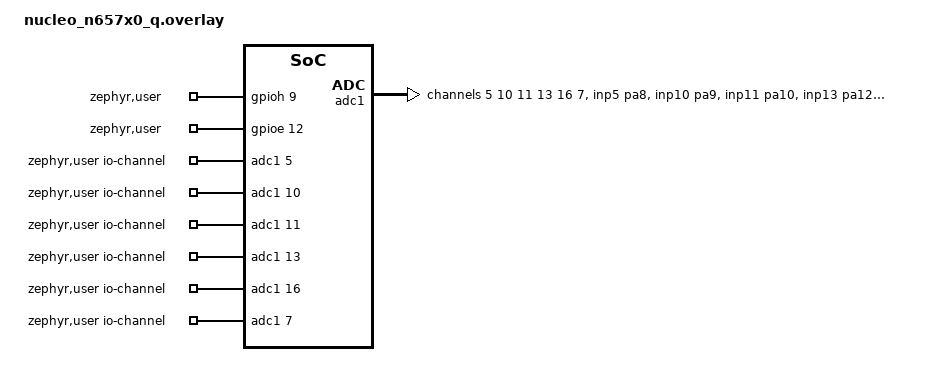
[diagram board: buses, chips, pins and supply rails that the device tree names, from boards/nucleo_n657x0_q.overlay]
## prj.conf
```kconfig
# SCPI-Controlled DAQ System for STM32N657 (NUCLEO-N657X0-Q)
# Zephyr RTOS Configuration
# Zephyr 4.4.x

# ============================================================================
# CONSOLE / SERIAL / UART
# ============================================================================
CONFIG_SERIAL=y
CONFIG_UART_INTERRUPT_DRIVEN=y

CONFIG_CONSOLE=y
CONFIG_UART_CONSOLE=y

# ============================================================================
# ADC
# ============================================================================
CONFIG_ADC=y

# ============================================================================
# FLOATING POINT / LIBC
# ============================================================================
CONFIG_FPU=y
CONFIG_CBPRINTF_FP_SUPPORT=y

# Use Newlib explicitly
CONFIG_NEWLIB_LIBC=y
# CONFIG_PICOLIBC is not set

# ============================================================================
# KERNEL / THREADING
# ============================================================================
CONFIG_MULTITHREADING=y
CONFIG_THREAD_STACK_INFO=y
CONFIG_THREAD_NAME=y

CONFIG_MAIN_STACK_SIZE=2048
CONFIG_HEAP_MEM_POOL_SIZE=2048

CONFIG_MPU_STACK_GUARD=y
CONFIG_THREAD_ANALYZER=y
CONFIG_THREAD_NAME=y

# ============================================================================
# GPIO
# ============================================================================
CONFIG_GPIO=y

# ============================================================================
# I2C
# ============================================================================
CONFIG_I2C=y

# ============================================================================
# LOGGING
# ============================================================================
CONFIG_LOG=y
CONFIG_LOG_DEFAULT_LEVEL=2

# Do NOT use CONFIG_UART_LOG.
# UART console/logging is handled by CONFIG_UART_CONSOLE.

# ============================================================================
# TIMING
# ============================================================================
# Zephyr kernel timers and the system workqueue are kernel facilities.
# CONFIG_TIMER and CONFIG_SYSTEM_WORKQUEUE are obsolete/undefined symbols
# in this Zephyr configuration, so they are intentionally omitted.

# ============================================================================
# BUILD / MEMORY
# ============================================================================
CONFIG_BUILD_NO_GAP_FILL=y
CONFIG_MPU_STACK_GUARD=y
```

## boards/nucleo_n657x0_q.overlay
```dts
/*
 * NUCLEO-N657X0-Q
 * DAQ application devicetree overlay
 *
 * Hardware:
 *   ADC1:
 *     CH0 -> PA8  -> ADC1 INP5
 *     CH1 -> PA9  -> ADC1 INP10
 *     CH2 -> PA10 -> ADC1 INP11
 *     CH3 -> PA12 -> ADC1 INP13
 *     CH4 -> PF3  -> ADC1 INP16
 *     CH5 -> PG15 -> ADC1 INP7
 *
 *   Bit-banged I2C:
 *     SCL -> PH9
 *     SDA -> PE12
 */

#include <zephyr/dt-bindings/gpio/gpio.h>
#include <zephyr/dt-bindings/adc/adc.h>

/ {
	/*
	 * User-defined DAQ interface.
	 *
	 * gpios[0] = SCL
	 * gpios[1] = SDA
	 *
	 * io-channels[0..5] = six ADC channels
	 */
	zephyr,user {
		gpios = <&gpioh 9  (GPIO_OPEN_DRAIN | GPIO_PULL_UP)>,
			<&gpioe 12 (GPIO_OPEN_DRAIN | GPIO_PULL_UP)>;

		io-channels = <&adc1 5>,
			      <&adc1 10>,
			      <&adc1 11>,
			      <&adc1 13>,
			      <&adc1 16>,
			      <&adc1 7>;
	};
};


/*
 * ============================================================
 * ADC1
 * ============================================================
 */

&adc1 {
	/*
	 * STM32N657 ADC clock configuration.
	 */
	clocks = <&rcc STM32_CLOCK(AHB1, 5)>,
		 <&rcc STM32_SRC_CKPER ADC12_SEL(1)>;

	clock-names = "adcx", "adc_ker";

	/*
	 * Physical ADC pins.
	 */
	pinctrl-0 = <&adc1_inp5_pa8
		     &adc1_inp10_pa9
		     &adc1_inp11_pa10
		     &adc1_inp13_pa12
		     &adc1_inp16_pf3
		     &adc1_inp7_pg15>;

	pinctrl-names = "default";

	/*
	 * ADC reference voltage.
	 */
	vref-mv = <1800>;

	#address-cells = <1>;
	#size-cells = <0>;

	status = "okay";


	/*
	 * ADC Channel 0
	 * PA8 -> ADC1 INP5
	 */
	channel@5 {
		reg = <5>;

		zephyr,gain = "ADC_GAIN_1";
		zephyr,reference = "ADC_REF_INTERNAL";
		zephyr,acquisition-time = <ADC_ACQ_TIME_DEFAULT>;
		zephyr,resolution = <12>;
	};


	/*
	 * ADC Channel 1
	 * PA9 -> ADC1 INP10
	 */
	channel@a {
		reg = <10>;

		zephyr,gain = "ADC_GAIN_1";
		zephyr,reference = "ADC_REF_INTERNAL";
		zephyr,acquisition-time = <ADC_ACQ_TIME_DEFAULT>;
		zephyr,resolution = <12>;
	};


	/*
	 * ADC Channel 2
	 * PA10 -> ADC1 INP11
	 */
	channel@b {
		reg = <11>;

		zephyr,gain = "ADC_GAIN_1";
		zephyr,reference = "ADC_REF_INTERNAL";
		zephyr,acquisition-time = <ADC_ACQ_TIME_DEFAULT>;
		zephyr,resolution = <12>;
	};


	/*
	 * ADC Channel 3
	 * PA12 -> ADC1 INP13
	 */
	channel@d {
		reg = <13>;

		zephyr,gain = "ADC_GAIN_1";
		zephyr,reference = "ADC_REF_INTERNAL";
		zephyr,acquisition-time = <ADC_ACQ_TIME_DEFAULT>;
		zephyr,resolution = <12>;
	};


	/*
	 * ADC Channel 4
	 * PF3 -> ADC1 INP16
	 */
	channel@10 {
		reg = <16>;

		zephyr,gain = "ADC_GAIN_1";
		zephyr,reference = "ADC_REF_INTERNAL";
		zephyr,acquisition-time = <ADC_ACQ_TIME_DEFAULT>;
		zephyr,resolution = <12>;
	};


	/*
	 * ADC Channel 5
	 * PG15 -> ADC1 INP7
	 */
	channel@7 {
		reg = <7>;

		zephyr,gain = "ADC_GAIN_1";
		zephyr,reference = "ADC_REF_INTERNAL";
		zephyr,acquisition-time = <ADC_ACQ_TIME_DEFAULT>;
		zephyr,resolution = <12>;
	};
};


/*
 * ============================================================
 * GPIO PORTS
 * ============================================================
 *
 * Explicitly enable the GPIO controllers used by the DAQ.
 */

&gpioa {
	status = "okay";
};

&gpioe {
	status = "okay";
};

&gpiof {
	status = "okay";
};

&gpioh {
	status = "okay";
};

&gpiog {
	status = "okay";
};
```

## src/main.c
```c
#include <zephyr/kernel.h>
#include <zephyr/device.h>
#include <stdio.h>
#include <string.h>
#include <stdint.h>

/* Include application headers */
#include "drivers_uart.h"
#include "drivers_adc.h"
#include "drivers_dac.h"
#include "scpi_parser.h"
#include "scpi_commands.h"
#include "scpi_error.h"
#include "control_pid.h"
#include "application_daq.h"

/* ====================================================================
   Global Application State
   ==================================================================== */

static daq_state_t g_daq;
static scpi_error_t g_last_error;

/* Per-port command line buffer/state. Each UART port (console, USART3)
   assembles its own command line independently, so a half-typed line
   on one link can never bleed into the other. */
#define COMMAND_BUFFER_SIZE 256

typedef struct {
    char buffer[COMMAND_BUFFER_SIZE];
    int  pos;
} cmd_line_state_t;

static cmd_line_state_t g_cmd_state[UART_PORT_COUNT];

/* Timing and synchronization */
#define PID_UPDATE_PERIOD_MS 10
#define UART_POLL_INTERVAL_MS 1

/* Thread stacks */
#define UART_THREAD_STACK_SIZE 4096
#define PID_THREAD_STACK_SIZE 2048

/* Semaphores and timers */
static struct k_timer pid_timer;
static struct k_sem pid_update_sem;

/* ====================================================================
   Forward Declarations
   ==================================================================== */

static void uart_poll_thread(void *arg1, void *arg2, void *arg3);
static void pid_update_thread(void *arg1, void *arg2, void *arg3);
static void pid_timer_expiry(struct k_timer *timer);
static void service_uart_port(uart_port_t port);
static void process_command_line(uart_port_t port, const char *line);
static void system_init(void);

/* ====================================================================
   Thread Definitions
   ==================================================================== */

/* Make UART thread higher priority so it drains incoming bytes immediately */
K_THREAD_DEFINE(uart_thread, UART_THREAD_STACK_SIZE,
                uart_poll_thread, NULL, NULL, NULL,
                1, 0, 0);  /* Priority 1 (Higher Priority) */

K_THREAD_DEFINE(pid_thread, PID_THREAD_STACK_SIZE,
                pid_update_thread, NULL, NULL, NULL,
                3, 0, 0);  /* Priority 3 */

/* ====================================================================
   PID Timer Expiry Handler
   
   Called every PID_UPDATE_PERIOD_MS to trigger PID update
   ==================================================================== */

static void pid_timer_expiry(struct k_timer *timer)
{
    /* Signal PID thread to wake up */
    k_sem_give(&pid_update_sem);
}

/* ====================================================================
   UART Poll Thread

   Services BOTH UART ports (console + USART3) every tick. Each port
   is fully independent: its own RX ring buffer (filled by its own
   ISR), its own in-progress command-line buffer, and any response is
   written back out that same port.
   ==================================================================== */

static void service_uart_port(uart_port_t port)
{
    uint8_t uart_char;
    cmd_line_state_t *st = &g_cmd_state[port];

    /* Drain everything currently queued for this port */
    while (UART_GetChar(port, &uart_char)) {
        if (uart_char == '\r' || uart_char == '\n') {
            /* Command complete - process it.
               NOTE: deliberately no newline sent here. The characters
               already echoed above form "COMMAND", and
               process_command_line() appends "->(response)\n" right
               after it with no line break in between, so the whole
               transaction is exactly one line:
                   COMMAND->(response)\n
               Sending a newline here would split it into two lines
               and desync any host parser expecting one line per
               command (this was the actual bug: it caused every
               later line to shift by one). */
            if (st->pos > 0) {
                st->buffer[st->pos] = '\0';
                process_command_line(port, st->buffer);
                st->pos = 0;
            }
        } else if (uart_char == '\b' || uart_char == 127) {
            /* Backspace */
            if (st->pos > 0) {
                st->pos--;
                UART_Send(port, "\b \b");
            }
        } else if (uart_char >= 32 && uart_char < 127) {
            /* Printable character - add to buffer and echo back on
               the SAME port it arrived on (printk()/putchar() would
               only ever reach the console, never USART3) */
            if (st->pos < COMMAND_BUFFER_SIZE - 1) {
                st->buffer[st->pos++] = uart_char;
                UART_SendChar(port, uart_char);
            }
        }
    }
}

static void uart_poll_thread(void *arg1, void *arg2, void *arg3)
{
    (void)arg1;
    (void)arg2;
    (void)arg3;
    
    printk("[UART] Thread started\n");
    
    while (1) {
        service_uart_port(UART_PORT_CONSOLE);
        service_uart_port(UART_PORT_USART3);

        /* Yield to prevent starving other threads */
        k_sleep(K_MSEC(UART_POLL_INTERVAL_MS));
    }
}

/* ====================================================================
   PID Update Thread
   
   Updates PID controller at fixed 10ms interval
   ==================================================================== */

static void pid_update_thread(void *arg1, void *arg2, void *arg3)
{
    (void)arg1;
    (void)arg2;
    (void)arg3;
    
    printk("[PID] Thread started\n");
    
    while (1) {
        /* Wait for PID timer to expire */
        k_sem_take(&pid_update_sem, K_FOREVER);
        
        /* Update PID with fixed time step */
        float dt = (float)PID_UPDATE_PERIOD_MS / 1000.0f;
        DAQ_UpdatePID(&g_daq, dt);
    }
}

/* ====================================================================
   Command Processing with Formatted Delimiter: Command->(Response)

   `port` identifies which physical UART the command came in on, so
   the response is written back out that same link.
   ==================================================================== */

static void process_command_line(uart_port_t port, const char *line)
{
    char response_buffer[256];
    char formatted_out[512];
    scpi_command_t cmd;
    
    if (!line || line[0] == '\0') {
        return;  /* Empty line, ignore */
    }
    
    /* Parse the command */
    int parse_ret = SCPI_Parse(line, &cmd);
    if (parse_ret < 0) {
        SCPI_Error_Add(-113, "Undefined header");
        snprintf(formatted_out, sizeof(formatted_out), "->(-113,\"Undefined header\")\n");
        UART_Send(port, formatted_out);
        return;
    }
    
    /* Execute the command */
    memset(response_buffer, 0, sizeof(response_buffer));
    int cmd_ret = SCPI_ExecuteCommand(&cmd, &g_daq, response_buffer, sizeof(response_buffer));
    
    if (cmd_ret == 0) {
        /* Successful execution */
        snprintf(formatted_out, sizeof(formatted_out), "->(%s)\n", response_buffer);
        UART_Send(port, formatted_out);
    } else {
        /* Error occurred */
        if (SCPI_Error_Get(&g_last_error)) {
            char err_buf[128];
            SCPI_Error_Format(&g_last_error, err_buf, sizeof(err_buf));
            snprintf(formatted_out, sizeof(formatted_out), "->(%s)\n", err_buf);
            UART_Send(port, formatted_out);
        } else {
            snprintf(formatted_out, sizeof(formatted_out), "->(ERROR)\n");
            UART_Send(port, formatted_out);
        }
    }
}

/* ====================================================================
   System Initialization
   ==================================================================== */

static void system_init(void)
{

    UART_Init();

    ADC_Init();

    DAC_Init();

    SCPI_Error_Init();

    DAQ_Init(&g_daq);

k_sem_init(&pid_update_sem, 0, 1);

k_timer_init(&pid_timer, pid_timer_expiry, NULL);

k_timer_start(&pid_timer,
              K_MSEC(PID_UPDATE_PERIOD_MS),
              K_MSEC(PID_UPDATE_PERIOD_MS));
    printk("\n");
    printk("========================================\n");
    printk("System initialized successfully\n");
    printk("========================================\n\n");
    
}

/* ====================================================================
   Main Entry Point
   ==================================================================== */

int main(void)
{
    /* Initialize system */
    system_init();
    
    /* Main thread is now ready to process user input */

    
    /* Main thread can be used for other tasks if needed */
    /* For now, just keep it alive */
    while (1) {
        k_sleep(K_SECONDS(1));
    }
    
    return 0;
}
```

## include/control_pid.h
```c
#ifndef CONTROL_PID_H
#define CONTROL_PID_H

#include <stdint.h>
#include <stdbool.h>

typedef struct {
    float kp;
    float ki;
    float kd;
    float setpoint;
    bool  use_setpoint;     /* true = Closed-Loop Setpoint Mode, false = Follower Mode */
    
    float integral;
    float prev_error;
    float output;
    
    float output_min;
    float output_max;
    
    bool enabled;
    float measurement;
    float error;
} pid_controller_t;

void PID_Init(pid_controller_t *pid);
void PID_SetKp(pid_controller_t *pid, float kp);
void PID_SetKi(pid_controller_t *pid, float ki);
void PID_SetKd(pid_controller_t *pid, float kd);
void PID_SetSetpoint(pid_controller_t *pid, float setpoint);
void PID_EnableSetpointMode(pid_controller_t *pid, bool enable);
bool PID_IsSetpointMode(const pid_controller_t *pid);

void PID_Enable(pid_controller_t *pid);
void PID_Disable(pid_controller_t *pid);
bool PID_IsEnabled(const pid_controller_t *pid);

void PID_SetOutputLimits(pid_controller_t *pid, float min_output, float max_output);
void PID_Update(pid_controller_t *pid, float measurement, float dt);

float PID_GetOutput(const pid_controller_t *pid);
float PID_GetError(const pid_controller_t *pid);
float PID_GetMeasurement(const pid_controller_t *pid);
void PID_ResetIntegral(pid_controller_t *pid);

#endif // CONTROL_PID_H
```

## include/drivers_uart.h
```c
#ifndef UART_H
#define UART_H

#include <stdint.h>
#include <stdbool.h>

/**
 * UART Driver Module
 *
 * Provides simple UART I/O functions, now multiplexed across two
 * independent physical ports:
 *
 *   UART_PORT_CONSOLE - ST-Link VCOM (the original "serial monitor" link)
 *   UART_PORT_USART3  - second external UART link (USART3)
 *
 * Both ports run the *same* SCPI command interface. Each port has its
 * own RX ring buffer and its own in-progress command-line buffer, so a
 * partially-typed line on one port never interferes with the other.
 * A response to a command is always sent back out the same port the
 * command arrived on.
 */

typedef enum {
    UART_PORT_CONSOLE = 0,
    UART_PORT_USART3  = 1,
    UART_PORT_COUNT
} uart_port_t;

/**
 * Initialize both UART ports (devices, ring buffers, RX interrupts).
 */
void UART_Init(void);

/**
 * Send a single character via the given UART port (blocking poll-out).
 *
 * @param port Which physical UART to send on
 * @param c    Character to send
 */
void UART_SendChar(uart_port_t port, char c);

/**
 * Send a null-terminated string via the given UART port.
 *
 * @param port Which physical UART to send on
 * @param str  Pointer to string
 */
void UART_Send(uart_port_t port, const char *str);

/**
 * Send formatted output (like printf) via the given UART port.
 *
 * @param port   Which physical UART to send on
 * @param format Printf-style format string
 * @param ...    Arguments
 */
void UART_Printf(uart_port_t port, const char *format, ...);

/**
 * Attempt to read one character from the given UART port (non-blocking).
 *
 * Pulls from that port's RX ring buffer, which is filled by its own
 * RX interrupt handler.
 *
 * @param port Which physical UART to read from
 * @param c    Pointer to store received character
 * @return true if a character was received, false if none available
 */
bool UART_GetChar(uart_port_t port, uint8_t *c);

/**
 * Get the underlying Zephyr device pointer for a port (for direct
 * Zephyr API access if needed).
 */
const struct device *UART_GetDevice(uart_port_t port);

#endif // UART_H
```

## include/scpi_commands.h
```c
#ifndef SCPI_COMMANDS_H
#define SCPI_COMMANDS_H

#include "scpi_parser.h"
#include "application_daq.h"

/**
 * SCPI Command Handler Module
 *
 * Routes parsed SCPI commands to appropriate handlers.
 * Each command:
 *  1. Validates parameters
 *  2. Calls appropriate DAQ/driver functions
 *  3. Formats response
 *  4. Sends response via UART
 *
 * Error handling:
 *  - Invalid parameters → Add error to error queue
 *  - Range errors → Add error to error queue
 *  - Successful execution → Send response
 */

/**
 * Process a parsed SCPI command
 *
 * This is the main dispatch function.
 * Given a parsed command structure and DAQ state, executes the command
 * and generates a response string.
 *
 * The response string is stored in response buffer for transmission.
 *
 * @param cmd Parsed SCPI command
 * @param daq DAQ application state
 * @param response Output buffer for response string
 * @param response_size Size of response buffer
 * @return 0 on successful execution, -1 on error (error added to queue)
 */
int SCPI_ExecuteCommand(const scpi_command_t *cmd, daq_state_t *daq,
                        char *response, int response_size);

/**
 * Convenience function to generate standard OK response
 */
void SCPI_ResponseOK(char *buf, int size);

/**
 * Convenience function to generate numeric response
 */
void SCPI_ResponseFloat(char *buf, int size, float value, int decimals);

/**
 * Convenience function to generate string response
 */
void SCPI_ResponseString(char *buf, int size, const char *str);

#endif // SCPI_COMMANDS_H
```

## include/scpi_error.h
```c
#ifndef SCPI_ERROR_H
#define SCPI_ERROR_H

#include <stdint.h>
#include <stdbool.h>

/**
 * SCPI Error Queue Module
 *
 * Maintains a queue of SCPI errors as required by the standard.
 * Each error has a numeric code and a message string.
 *
 * Error behavior:
 *  - SCPI:ERR? returns oldest error and removes it
 *  - Subsequent SCPI:ERR? returns next error
 *  - When queue is empty, returns 0,"No error"
 *  - Maximum of ~16 errors can be buffered
 *  - *CLS clears all errors
 *  - *RST clears all errors
 */

typedef struct {
    int code;
    char message[64];
} scpi_error_t;

/**
 * Initialize error queue
 */
void SCPI_Error_Init(void);

/**
 * Add an error to the queue
 *
 * @param code SCPI error code (e.g., -222 for out of range)
 * @param message Error description (will be truncated to 63 chars)
 */
void SCPI_Error_Add(int code, const char *message);

/**
 * Get oldest error and remove it from queue
 *
 * @param error Pointer to error structure to fill
 * @return true if an error was returned, false if queue is empty
 */
bool SCPI_Error_Get(scpi_error_t *error);

/**
 * Query if there are any errors in the queue
 *
 * @return true if queue is not empty, false otherwise
 */
bool SCPI_Error_HasError(void);

/**
 * Clear all errors from the queue
 * Called by *CLS or *RST
 */
void SCPI_Error_Clear(void);

/**
 * Convenience function: Format error response string
 *
 * Formats "code,\"message\"" suitable for UART transmission
 *
 * @param error Pointer to error structure
 * @param buf Output buffer
 * @param buf_size Size of output buffer
 */
void SCPI_Error_Format(const scpi_error_t *error, char *buf, int buf_size);

#endif // SCPI_ERROR_H
```

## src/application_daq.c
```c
#include <stdint.h>
#include <stdbool.h>
#include <string.h>

#include "application_daq.h"
#include "drivers_adc.h"
#include "drivers_dac.h"
#include "control_pid.h"
#include "calibration_config.h"

void DAQ_Init(daq_state_t *daq)
{
    if (!daq) return;
    
    strcpy(daq->manufacturer, "VIMICRO");
    strcpy(daq->model, "VDAS");
    strcpy(daq->serial, "01E");
    strcpy(daq->version, "0.1");
    
    /* CH0 & CH1 default to CURRENT; CH2..CH5 default to VOLTAGE */
    for (int i = 0; i < DAQ_NUM_ADC_CHANNELS; i++) {
        daq->channels[i].mode = (i < 2) ? CHANNEL_MODE_CURRENT : CHANNEL_MODE_VOLTAGE;
        daq->channels[i].last_measurement = 0.0f;
    }
    
    daq->sample_rate = 100;
    daq->sample_count = 1;
    
    for (int ch = 0; ch < DAQ_NUM_DAC_CHANNELS; ch++) {
        daq->output_enabled[ch] = false;
        daq->dac_output[ch] = 0.0f;
    }
    daq->active_dac_channel = DAC_CHANNEL_A;
    
    /* Loop 0 Defaults */
    daq->pid_input_channel[0] = PID0_DEFAULT_INPUT_CHANNEL;
    daq->pid_output_channel[0] = PID0_DEFAULT_OUTPUT_CHANNEL;
    PID_Init(&daq->pid[0]);
    PID_SetOutputLimits(&daq->pid[0], 4.0f, 20.0f);
    
    /* Loop 1 Defaults */
    daq->pid_input_channel[1] = PID1_DEFAULT_INPUT_CHANNEL;
    daq->pid_output_channel[1] = PID1_DEFAULT_OUTPUT_CHANNEL;
    PID_Init(&daq->pid[1]);
    PID_SetOutputLimits(&daq->pid[1], 4.0f, 20.0f);
}

int DAQ_ConfigChannel_Voltage(daq_state_t *daq, uint8_t channel)
{
    if (!daq || channel >= DAQ_NUM_ADC_CHANNELS) return -1;
    daq->channels[channel].mode = CHANNEL_MODE_VOLTAGE;
    return 0;
}

int DAQ_ConfigChannel_Current(daq_state_t *daq, uint8_t channel)
{
    if (!daq || channel >= DAQ_NUM_ADC_CHANNELS) return -1;
    daq->channels[channel].mode = CHANNEL_MODE_CURRENT;
    return 0;
}

channel_mode_t DAQ_GetChannelMode(const daq_state_t *daq, uint8_t channel)
{
    if (!daq || channel >= DAQ_NUM_ADC_CHANNELS) return CHANNEL_MODE_VOLTAGE;
    return daq->channels[channel].mode;
}

float DAQ_ReadChannel(daq_state_t *daq, uint8_t channel)
{
    if (!daq || channel >= DAQ_NUM_ADC_CHANNELS) return 0.0f;
    
    float measurement = 0.0f;
    if (daq->channels[channel].mode == CHANNEL_MODE_VOLTAGE) {
        measurement = ADC_ReadVoltage(channel);
    } else {
        measurement = ADC_ReadCurrent(channel);
    }
    daq->channels[channel].last_measurement = measurement;
    return measurement;
}

void DAQ_SetSampleRate(daq_state_t *daq, uint32_t rate) { if (daq) daq->sample_rate = rate; }
uint32_t DAQ_GetSampleRate(const daq_state_t *daq) { return daq ? daq->sample_rate : 100; }
void DAQ_SetSampleCount(daq_state_t *daq, uint32_t count) { if (daq) daq->sample_count = count; }
uint32_t DAQ_GetSampleCount(const daq_state_t *daq) { return daq ? daq->sample_count : 1; }

bool DAQ_IsAnyPIDDrivingDAC(const daq_state_t *daq, uint8_t dac_channel)
{
    if (!daq) return false;
    for (int p = 0; p < DAQ_NUM_PID_LOOPS; p++) {
        if (PID_IsEnabled(&daq->pid[p]) && daq->pid_output_channel[p] == dac_channel) {
            return true;
        }
    }
    return false;
}

void DAQ_EnableOutput(daq_state_t *daq, uint8_t channel)
{
    if (!daq || channel >= DAQ_NUM_DAC_CHANNELS) return;
    
    for (int p = 0; p < DAQ_NUM_PID_LOOPS; p++) {
        if (daq->pid_output_channel[p] == channel && PID_IsEnabled(&daq->pid[p])) {
            PID_Disable(&daq->pid[p]);
        }
    }
    
    daq->output_enabled[channel] = true;
}

void DAQ_DisableOutput(daq_state_t *daq, uint8_t channel)
{
    if (!daq || channel >= DAQ_NUM_DAC_CHANNELS) return;
    daq->output_enabled[channel] = false;
    DAC_SetVoltage(channel, 0.0f);
}

bool DAQ_IsOutputEnabled(const daq_state_t *daq, uint8_t channel)
{
    if (!daq || channel >= DAQ_NUM_DAC_CHANNELS) return false;
    return daq->output_enabled[channel];
}

int DAQ_EnablePID(daq_state_t *daq, uint8_t pid_index)
{
    if (!daq || pid_index >= DAQ_NUM_PID_LOOPS) return -1;
    
    uint8_t in_ch = daq->pid_input_channel[pid_index];
    uint8_t out_ch = daq->pid_output_channel[pid_index];
    daq->output_enabled[out_ch] = false;
    
    /* Dynamically configure limits based on input mode */
    if (daq->channels[in_ch].mode == CHANNEL_MODE_CURRENT) {
        PID_SetOutputLimits(&daq->pid[pid_index], 4.0f, 20.0f);
    } else {
        PID_SetOutputLimits(&daq->pid[pid_index], 0.0f, 5.0f);
    }
    
    PID_Enable(&daq->pid[pid_index]);
    return 0;
}

int DAQ_DisablePID(daq_state_t *daq, uint8_t pid_index)
{
    if (!daq || pid_index >= DAQ_NUM_PID_LOOPS) return -1;
    PID_Disable(&daq->pid[pid_index]);
    DAC_SetVoltage(daq->pid_output_channel[pid_index], 0.0f);
    return 0;
}

bool DAQ_IsPIDEnabled(const daq_state_t *daq, uint8_t pid_index)
{
    if (!daq || pid_index >= DAQ_NUM_PID_LOOPS) return false;
    return PID_IsEnabled(&daq->pid[pid_index]);
}

int DAQ_SetActiveOutputChannel(daq_state_t *daq, uint8_t channel)
{
    if (!daq || channel >= DAQ_NUM_DAC_CHANNELS) return -1;
    daq->active_dac_channel = channel;
    return 0;
}

uint8_t DAQ_GetActiveOutputChannel(const daq_state_t *daq)
{
    return daq ? daq->active_dac_channel : 0;
}

int DAQ_SetOutputVoltage(daq_state_t *daq, uint8_t channel, float voltage)
{
    if (!daq || channel >= DAQ_NUM_DAC_CHANNELS) return -1;
    if (DAQ_IsAnyPIDDrivingDAC(daq, channel) || !daq->output_enabled[channel]) {
        return -1;
    }
    
    int ret = DAC_SetVoltage(channel, voltage);
    if (ret == 0) daq->dac_output[channel] = voltage;
    return ret;
}

int DAQ_SetOutputCurrent(daq_state_t *daq, uint8_t channel, float current_mA)
{
    if (!daq || channel >= DAQ_NUM_DAC_CHANNELS) return -1;
    if (DAQ_IsAnyPIDDrivingDAC(daq, channel) || !daq->output_enabled[channel]) {
        return -1;
    }
    
    int ret = DAC_SetCurrent(channel, current_mA);
    if (ret == 0) daq->dac_output[channel] = DAC_GetVoltage(channel);
    return ret;
}

float DAQ_GetOutputVoltage(const daq_state_t *daq, uint8_t channel)
{
    if (!daq || channel >= DAQ_NUM_DAC_CHANNELS) return 0.0f;
    return DAC_GetVoltage(channel);
}

float DAQ_GetOutputCurrent(const daq_state_t *daq, uint8_t channel)
{
    if (!daq || channel >= DAQ_NUM_DAC_CHANNELS) return 0.0f;
    return DAC_GetCurrent(channel);
}

int DAQ_SetPIDInputChannel(daq_state_t *daq, uint8_t pid_index, uint8_t adc_channel)
{
    if (!daq || pid_index >= DAQ_NUM_PID_LOOPS || adc_channel >= DAQ_NUM_ADC_CHANNELS) return -1;
    daq->pid_input_channel[pid_index] = adc_channel;
    return 0;
}

uint8_t DAQ_GetPIDInputChannel(const daq_state_t *daq, uint8_t pid_index)
{
    if (!daq || pid_index >= DAQ_NUM_PID_LOOPS) return 0;
    return daq->pid_input_channel[pid_index];
}

int DAQ_SetPIDOutputChannel(daq_state_t *daq, uint8_t pid_index, uint8_t dac_channel)
{
    if (!daq || pid_index >= DAQ_NUM_PID_LOOPS || dac_channel >= DAQ_NUM_DAC_CHANNELS) return -1;
    daq->pid_output_channel[pid_index] = dac_channel;
    return 0;
}

uint8_t DAQ_GetPIDOutputChannel(const daq_state_t *daq, uint8_t pid_index)
{
    if (!daq || pid_index >= DAQ_NUM_PID_LOOPS) return 0;
    return daq->pid_output_channel[pid_index];
}

/* ============================================================================
 * Dynamic PID Execution Loop (Handles Both Voltage and Current Modes)
 * ============================================================================ */
void DAQ_UpdatePID(daq_state_t *daq, float dt)
{
    if (!daq) return;
    
    for (uint8_t p = 0; p < DAQ_NUM_PID_LOOPS; p++) {
        if (!PID_IsEnabled(&daq->pid[p])) {
            continue;
        }
        
        uint8_t in_ch = daq->pid_input_channel[p];
        uint8_t out_ch = daq->pid_output_channel[p];
        channel_mode_t mode = daq->channels[in_ch].mode;
        
        if (mode == CHANNEL_MODE_CURRENT) {
            /* 1. Read calibrated Current in mA */
            float in_curr_mA = ADC_ReadCurrent(in_ch);
            
            /* 2. Dynamically set limits (4.0 to 20.0 mA) */
            PID_SetOutputLimits(&daq->pid[p], 4.0f, 20.0f);
            
            /* 3. Update PID */
            PID_Update(&daq->pid[p], in_curr_mA, dt);
            
            /* 4. Drive DAC using DAC_SetCurrent */
            float target_mA = PID_GetOutput(&daq->pid[p]);
            DAC_SetCurrent(out_ch, target_mA);
            daq->dac_output[out_ch] = DAC_GetVoltage(out_ch);
            
        } else {
            /* 1. Read calibrated Voltage in Volts */
            float in_volt = ADC_ReadVoltage(in_ch);
            
            /* 2. Dynamically set limits (0.0 to 5.0 V) */
            PID_SetOutputLimits(&daq->pid[p], 0.0f, 5.0f);
            
            /* 3. Update PID */
            PID_Update(&daq->pid[p], in_volt, dt);
            
            /* 4. Drive DAC using DAC_SetVoltage */
            float target_volt = PID_GetOutput(&daq->pid[p]);
            DAC_SetVoltage(out_ch, target_volt);
            daq->dac_output[out_ch] = target_volt;
        }
    }
}
```

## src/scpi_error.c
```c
#include "scpi_error.h"
#include <string.h>
#include <stdio.h>
#include <stdbool.h>

#define ERROR_QUEUE_SIZE 16

typedef struct {
    scpi_error_t queue[ERROR_QUEUE_SIZE];
    int head;  /* Next position to write */
    int count; /* Number of errors in queue */
} error_queue_t;

static error_queue_t error_queue = {0};

void SCPI_Error_Init(void)
{
    error_queue.head = 0;
    error_queue.count = 0;
}

void SCPI_Error_Add(int code, const char *message)
{
    if (!message) return;
    
    /* If queue is full, we need to drop the oldest error */
    if (error_queue.count >= ERROR_QUEUE_SIZE) {
        error_queue.count--;
    }
    
    /* Add new error at head position */
    int index = error_queue.head;
    error_queue.queue[index].code = code;
    
    strncpy(error_queue.queue[index].message, message, 
            sizeof(error_queue.queue[index].message) - 1);
    error_queue.queue[index].message[sizeof(error_queue.queue[index].message) - 1] = '\0';
    
    /* Move head to next position (circular) */
    error_queue.head = (error_queue.head + 1) % ERROR_QUEUE_SIZE;
    error_queue.count++;
}

bool SCPI_Error_Get(scpi_error_t *error)
{
    if (!error) return false;
    if (error_queue.count == 0) {
        /* Queue is empty, return "no error" */
        error->code = 0;
        strcpy(error->message, "No error");
        return false;
    }
    
    /* Calculate index of oldest error */
    int oldest_index = (error_queue.head - error_queue.count + ERROR_QUEUE_SIZE) % ERROR_QUEUE_SIZE;
    
    /* Copy oldest error */
    *error = error_queue.queue[oldest_index];
    
    /* Remove oldest error from queue */
    error_queue.count--;
    
    return true;
}

bool SCPI_Error_HasError(void)
{
    return error_queue.count > 0;
}

void SCPI_Error_Clear(void)
{
    error_queue.head = 0;
    error_queue.count = 0;
}

void SCPI_Error_Format(const scpi_error_t *error, char *buf, int buf_size)
{
    if (!error || !buf || buf_size < 10) {
        return;
    }
    
    snprintf(buf, buf_size, "%d,\"%s\"", error->code, error->message);
}
```

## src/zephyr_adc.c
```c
#include <zephyr/kernel.h>
#include <zephyr/device.h>
#include <zephyr/drivers/adc.h>
#include <stdint.h>
#include <stdbool.h>
#include "drivers_adc.h"
#include "calibration_config.h"

#define ADC_PHYSICAL_CHANNELS 6

static const struct adc_dt_spec adc_ch[ADC_PHYSICAL_CHANNELS] = {
    ADC_DT_SPEC_GET_BY_IDX(DT_PATH(zephyr_user), 0),
    ADC_DT_SPEC_GET_BY_IDX(DT_PATH(zephyr_user), 1),
    ADC_DT_SPEC_GET_BY_IDX(DT_PATH(zephyr_user), 2),
    ADC_DT_SPEC_GET_BY_IDX(DT_PATH(zephyr_user), 3),
    ADC_DT_SPEC_GET_BY_IDX(DT_PATH(zephyr_user), 4),
    ADC_DT_SPEC_GET_BY_IDX(DT_PATH(zephyr_user), 5),
};

void ADC_Init(void)
{
    for (int i = 0; i < ADC_PHYSICAL_CHANNELS; i++) {
        if (!adc_is_ready_dt(&adc_ch[i])) {
            printk("ADC physical channel %d not ready\n", i);
            return;
        }
        int ret = adc_channel_setup_dt(&adc_ch[i]);
        if (ret < 0) {
            printk("ADC physical channel %d setup failed: %d\n", i, ret);
            return;
        }
    }
    printk("ADC initialized with dynamic calibration mapping\n");
}

uint16_t ADC_ReadRaw(uint8_t logical_channel)
{
    if (logical_channel >= DAQ_NUM_ADC_CHANNELS) {
        return 0;
    }

    uint8_t physical_channel = ADC_LOGICAL_TO_PHYSICAL_MAP[logical_channel];
    if (physical_channel >= ADC_PHYSICAL_CHANNELS) {
        return 0;
    }

    uint32_t buf = 0;
    struct adc_sequence seq = {
        .buffer = &buf,
        .buffer_size = sizeof(buf),
    };

    if (adc_sequence_init_dt(&adc_ch[physical_channel], &seq) < 0) {
        return 0;
    }

    if (adc_read_dt(&adc_ch[physical_channel], &seq) < 0) {
        return 0;
    }

    return (uint16_t)(buf & 0xFFFF);
}

float ADC_ReadVoltage(uint8_t logical_channel)
{
    if (logical_channel >= DAQ_NUM_ADC_CHANNELS) {
        return 0.0f;
    }

    uint16_t raw = ADC_ReadRaw(logical_channel);
    return CALIB_AdcCountToVoltage(logical_channel, raw);
}

float ADC_ReadCurrent(uint8_t logical_channel)
{
    if (logical_channel >= DAQ_NUM_ADC_CHANNELS) {
        return 0.0f;
    }

    float voltage = ADC_ReadVoltage(logical_channel);
    return CALIB_AdcVoltageToCurrent(logical_channel, voltage);
}

void ADC_SetMockValue(uint8_t channel, float voltage)
{
    (void)channel;
    (void)voltage;
}

const struct device *ADC_GetDevice(void)
{
    return adc_ch[0].dev;
}
```

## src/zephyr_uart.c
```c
/**
 * Zephyr UART Driver for SCPI DAQ
 *
 * Wraps Zephyr's UART device API to expose two independent physical
 * ports through the same interface the application already uses:
 *
 *   UART_PORT_CONSOLE -> ST-Link VCOM console (PB14 TX / PB15 RX, 115200 8N1)
 *   UART_PORT_USART3  -> second external UART link (USART3)
 *
 * Each port gets its own RX ring buffer, filled by its own interrupt
 * handler, so the two links are fully independent from the ISR level
 * up through UART_GetChar(). Nothing above this file needs to know
 * there are two physical UARTs beyond passing the right port enum.
 */

#include <zephyr/kernel.h>
#include <zephyr/device.h>
#include <zephyr/drivers/uart.h>
#include <zephyr/sys/ring_buffer.h>
#include <stdio.h>
#include <string.h>
#include <stdarg.h>
#include <stdbool.h>
#include "drivers_uart.h"

#define UART_RX_BUF_SIZE 1024

typedef struct {
    const struct device *dev;
    uint8_t rx_buf[UART_RX_BUF_SIZE];
    struct ring_buf rx_ring;
} uart_port_ctx_t;

static uart_port_ctx_t s_ports[UART_PORT_COUNT];

/**
 * Shared UART interrupt handler - called for whichever port fires.
 * user_data tells us which port's context/ring buffer to use, so one
 * handler function serves both physical UARTs.
 */
static void uart_isr_handler(const struct device *dev, void *user_data)
{
    uart_port_ctx_t *ctx = (uart_port_ctx_t *)user_data;
    uint8_t c;

    uart_irq_update(dev);

    if (!uart_irq_rx_ready(dev)) {
        return;
    }

    /* Read all available characters */
    while (uart_poll_in(dev, &c) == 0) {
        uint32_t ret = ring_buf_put(&ctx->rx_ring, &c, 1);
        if (ret < 1) {
            /* Buffer full, character dropped */
            /* In production, could log this */
        }
    }
}

static void init_one_port(uart_port_t port, const struct device *dev, const char *label)
{
    uart_port_ctx_t *ctx = &s_ports[port];

    ctx->dev = dev;

    if (!device_is_ready(ctx->dev)) {
        printk("UART port '%s' not ready!\n", label);
        ctx->dev = NULL;
        return;
    }

    ring_buf_init(&ctx->rx_ring, sizeof(ctx->rx_buf), ctx->rx_buf);

    uart_irq_callback_user_data_set(ctx->dev, uart_isr_handler, ctx);
    uart_irq_rx_enable(ctx->dev);

    printk("UART port '%s' initialized: %s\n", label, ctx->dev->name);
}

/**
 * Initialize both UART ports.
 */
void UART_Init(void)
{
    init_one_port(UART_PORT_CONSOLE,
                   DEVICE_DT_GET(DT_CHOSEN(zephyr_console)),
                   "console");

#if DT_NODE_EXISTS(DT_NODELABEL(usart3))
    init_one_port(UART_PORT_USART3,
                   DEVICE_DT_GET(DT_NODELABEL(usart3)),
                   "usart3");
#else
    printk("USART3 devicetree node not found - is it enabled in your overlay?\n");
    s_ports[UART_PORT_USART3].dev = NULL;
#endif
}

/**
 * Send a single character via the given UART port (blocking).
 */
void UART_SendChar(uart_port_t port, char c)
{
    if (port >= UART_PORT_COUNT || !s_ports[port].dev) {
        return;
    }
    uart_poll_out(s_ports[port].dev, (uint8_t)c);
}

/**
 * Send a null-terminated string via the given UART port.
 */
void UART_Send(uart_port_t port, const char *str)
{
    if (!str || port >= UART_PORT_COUNT || !s_ports[port].dev) {
        return;
    }

    while (*str) {
        UART_SendChar(port, *str++);
    }
}

/**
 * Send formatted output (printf-style) via the given UART port.
 */
void UART_Printf(uart_port_t port, const char *format, ...)
{
    char buffer[256];
    va_list args;

    if (port >= UART_PORT_COUNT || !s_ports[port].dev) {
        return;
    }

    va_start(args, format);
    vsnprintf(buffer, sizeof(buffer), format, args);
    va_end(args);

    UART_Send(port, buffer);
}

/**
 * Read a character from the given UART port (non-blocking).
 */
bool UART_GetChar(uart_port_t port, uint8_t *c)
{
    if (!c || port >= UART_PORT_COUNT || !s_ports[port].dev) {
        return false;
    }

    size_t bytes_read = ring_buf_get(&s_ports[port].rx_ring, c, 1);
    return (bytes_read > 0);
}

/**
 * Get UART device pointer for a port (for direct Zephyr API access if needed)
 */
const struct device *UART_GetDevice(uart_port_t port)
{
    if (port >= UART_PORT_COUNT) {
        return NULL;
    }
    return s_ports[port].dev;
}
```
